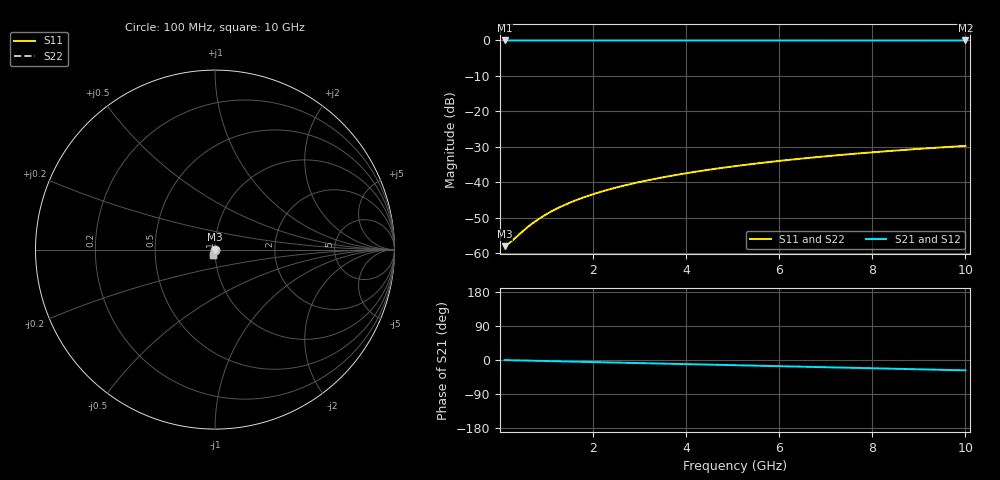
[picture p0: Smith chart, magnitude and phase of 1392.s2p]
# Hz S RI R 50.00
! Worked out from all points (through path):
!   100 points, 100 MHz to 10 GHz, reference 50 ohm
!   highest |S21| = -0.01 dB at 100 MHz (marker M1); lowest = 0.0 dB at 10 GHz (marker M2)
!   group delay of S21, straight-line fit = 7.58 ps
!   lowest |S11| = -58.0 dB at 100 MHz (marker M3), VSWR 1.00, Z = 50.1 - j0.0338 ohm
!   |S11| at or under -10 dB: start of sweep to end of sweep
!   |S22| runs from -58.0 to -29.8 dB; largest |S21 - S12| = 0
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1e8  0.00121 -0.000338  0.9988 -0.00472  0.9988 -0.00472  0.00121 -0.000338
2e8  0.00121 -0.000675  0.9987 -0.00945  0.9987 -0.00945  0.00121 -0.000675
5e8  0.00118 -0.00169  0.9985 -0.0236  0.9985 -0.0236  0.00118 -0.00169
6e8  0.00117 -0.00203  0.9983 -0.0283  0.9983 -0.0283  0.00117 -0.00203
7e8  0.00115 -0.00236  0.9982 -0.0331  0.9982 -0.0331  0.00115 -0.00236
9e8  0.0011 -0.00304  0.9978 -0.0425  0.9978 -0.0425  0.0011 -0.00304
1.1e9  0.00103 -0.00371  0.9974 -0.052  0.9974 -0.052  0.00103 -0.00371
1.3e9  0.000957 -0.00439  0.9968 -0.0614  0.9968 -0.0614  0.000957 -0.00439
1.5e9  0.000868 -0.00506  0.9962 -0.0708  0.9962 -0.0708  0.000868 -0.00506
1.8e9  0.000709 -0.00607  0.995 -0.085  0.995 -0.085  0.000709 -0.00607
2.1e9  0.000522 -0.00707  0.9937 -0.0991  0.9937 -0.0991  0.000522 -0.00707
2.5e9  0.000228 -0.0084  0.9916 -0.1179  0.9916 -0.1179  0.000228 -0.0084
2.9e9  -0.000118 -0.00973  0.9892 -0.1367  0.9892 -0.1367  -0.000118 -0.00973
3.4e9  -0.000621 -0.0114  0.9856 -0.1602  0.9856 -0.1602  -0.000621 -0.0114
3.8e9  -0.00108 -0.0127  0.9824 -0.1789  0.9824 -0.1789  -0.00108 -0.0127
4.2e9  -0.00159 -0.0139  0.9788 -0.1975  0.9788 -0.1975  -0.00159 -0.0139
5.1e9  -0.00291 -0.0168  0.9693 -0.2392  0.9693 -0.2392  -0.00291 -0.0168
5.9e9  -0.00428 -0.0192  0.9594 -0.276  0.9594 -0.276  -0.00428 -0.0192
6.7e9  -0.00584 -0.0215  0.9481 -0.3124  0.9481 -0.3124  -0.00584 -0.0215
7.5e9  -0.00756 -0.0236  0.9354 -0.3484  0.9354 -0.3484  -0.00756 -0.0236
8.4e9  -0.00969 -0.0259  0.9194 -0.3884  0.9194 -0.3884  -0.00969 -0.0259
1e10  -0.0139 -0.0294  0.8866 -0.4578  0.8866 -0.4578  -0.0139 -0.0294
